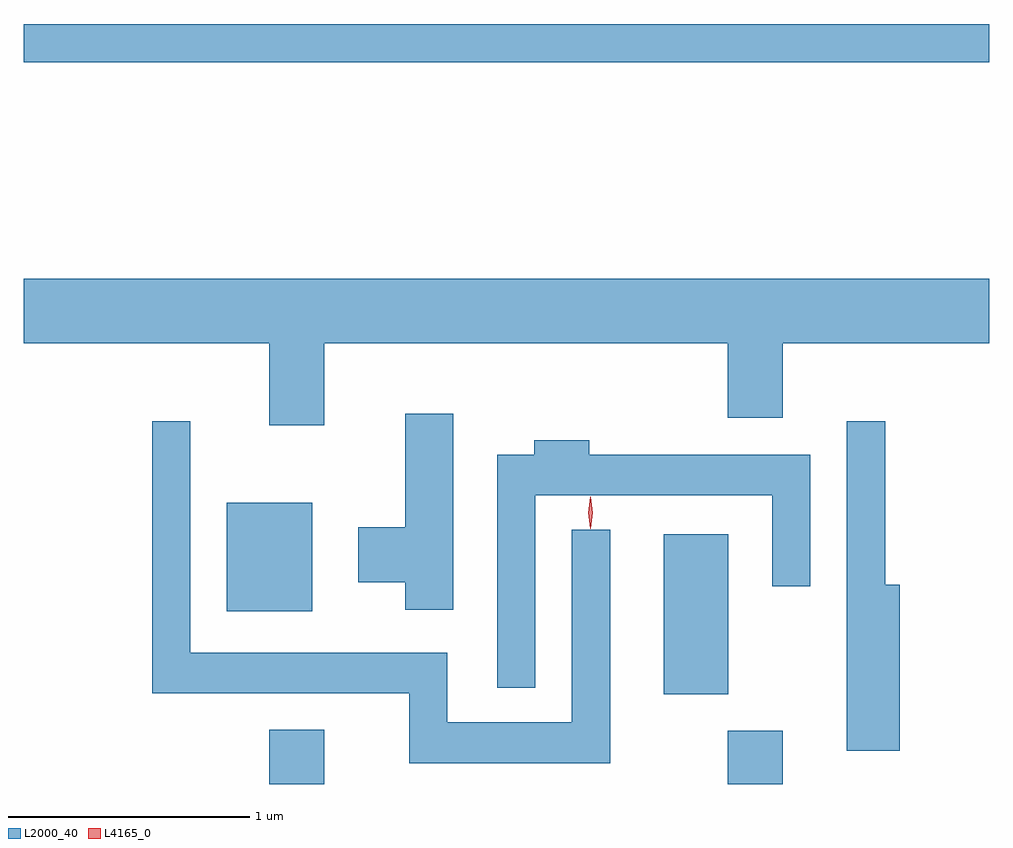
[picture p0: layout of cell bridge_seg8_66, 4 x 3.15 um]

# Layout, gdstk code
import gdstk
lib = gdstk.Library(unit=1e-6, precision=1e-09)
def R(c, l, rs):  # rectangles x0, y0, x1, y1
    for r in rs: c.add(gdstk.rectangle(r[:2], r[2:], *l))
def P(c, l, *ps):  # polygons
    for p in ps: c.add(gdstk.Polygon(p, *l))
L2000_40 = (2000, 40)
L4165_0 = (4165, 0)

bridge_seg8_66 = lib.new_cell('bridge_seg8_66')
R(bridge_seg8_66, L2000_40, [(1469.031,1923.389,1469.259,1923.614), (1470.931,1923.389,1471.159,1923.609), (1470.666,1923.761,1470.934,1924.424), (1468.856,1924.106,1469.209,1924.554), (1468.015,1926.381,1472.015,1926.539)])
P(bridge_seg8_66, L2000_40, [(1469.259,1925.216),(1470.931,1925.216),(1470.931,1924.906),(1471.159,1924.906),(1471.159,1925.216),(1472.015,1925.216),(1472.015,1925.484),(1468.015,1925.484),(1468.015,1925.216),(1469.031,1925.216),(1469.031,1924.876),(1469.259,1924.876)],
  [(1469.794,1924.924),(1469.596,1924.924),(1469.596,1924.454),(1469.401,1924.454),(1469.401,1924.226),(1469.596,1924.226),(1469.596,1924.111),(1469.794,1924.111)],
  [(1471.644,1924.214),(1471.584,1924.214),(1471.584,1924.893),(1471.426,1924.893),(1471.426,1923.526),(1471.644,1923.526)],
  [(1470.444,1924.443),(1470.286,1924.443),(1470.286,1923.644),(1469.769,1923.644),(1469.769,1923.934),(1468.704,1923.934),(1468.704,1924.893),(1468.546,1924.893),(1468.546,1923.766),(1469.611,1923.766),(1469.611,1923.476),(1470.444,1923.476)],
  [(1470.134,1924.586),(1471.116,1924.586),(1471.116,1924.208),(1471.274,1924.208),(1471.274,1924.754),(1470.359,1924.754),(1470.359,1924.814),(1470.131,1924.814),(1470.131,1924.754),(1469.976,1924.754),(1469.976,1923.788),(1470.134,1923.788)])
P(bridge_seg8_66, L4165_0, [(1470.363,1924.447),(1470.353,1924.514),(1470.363,1924.58),(1470.363,1924.58),(1470.364,1924.58),(1470.373,1924.514),(1470.364,1924.447),(1470.364,1924.447)])

lib.write_gds('bridge_seg8_66.gds')
